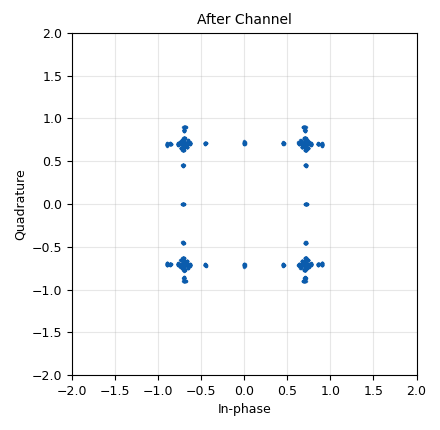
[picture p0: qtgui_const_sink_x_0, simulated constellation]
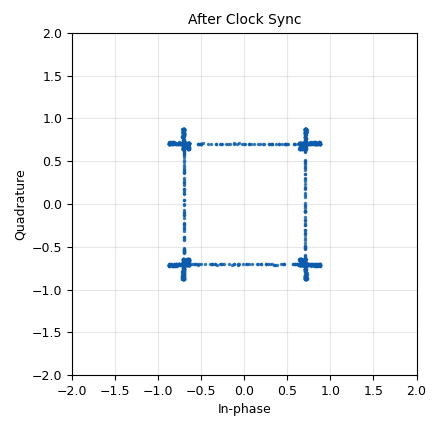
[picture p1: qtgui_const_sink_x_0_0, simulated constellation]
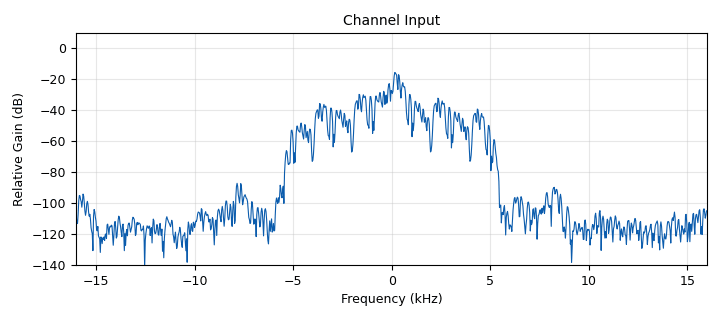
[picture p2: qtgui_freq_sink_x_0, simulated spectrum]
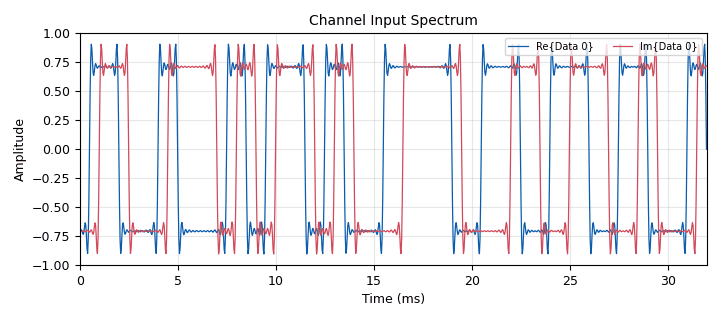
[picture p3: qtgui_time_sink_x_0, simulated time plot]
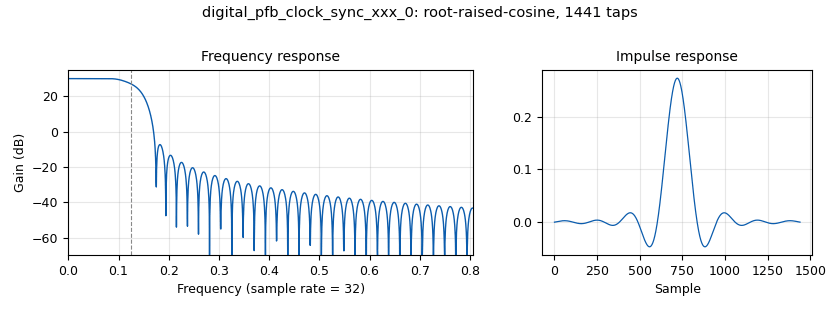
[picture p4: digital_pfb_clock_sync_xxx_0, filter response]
options:
  parameters:
    generate_options: qt_gui
    id: qpks
    output_language: python
    realtime_scheduling: '1'
    title: QPSK
  states: {}

blocks:
- name: excess_bw
  id: variable
  parameters:
    value: '350e-3'
  states: {}
- name: freq_offset
  id: variable_qtgui_range
  parameters:
    gui_hint: 1,0,1,1
    label: Frequency Offset
    orient: Qt.Horizontal
    start: '-100e-3'
    step: '1e-3'
    stop: '100e-3'
    value: '0'
  states: {}
- name: nfilts
  id: variable
  parameters:
    value: '32'
  states: {}
- name: noise_volt
  id: variable_qtgui_range
  parameters:
    gui_hint: 0,0,1,1
    label: Noise Voltage
    orient: Qt.Horizontal
    start: '0'
    step: '0.01'
    stop: '1'
    value: '0.0001'
  states: {}
- name: qpsk_const
  id: variable_constellation_rect
  parameters:
    const_points: '[0.707+0.707j, -0.707+0.707j, -0.707-0.707j, 0.707-0.707j]'
    imag_sect: '2'
    real_sect: '2'
    rot_sym: '4'
    sym_map: '[0, 1, 3, 2]'
    w_imag_sect: '1'
    w_real_sect: '1'
  states: {}
- name: rrc_taps
  id: variable
  parameters:
    value: firdes.root_raised_cosine(nfilts, nfilts, 1.0/float(sps), 0.35, 45*nfilts)
  states: {}
- name: samp_rate
  id: variable
  parameters:
    value: '32000'
  states: {}
- name: sps
  id: variable
  parameters:
    value: '4'
  states: {}
- name: taps
  id: variable
  parameters:
    value: '[1.0 + 0.0j, ]'
  states: {}
- name: time_offset
  id: variable_qtgui_range
  parameters:
    gui_hint: 0,1,1,1
    label: Timing Offset
    orient: Qt.Horizontal
    start: '0.999'
    step: '0.0001'
    stop: '1.001'
    value: '1.0'
  states: {}
- name: timing_loop_bw
  id: variable_qtgui_range
  parameters:
    gui_hint: 1,1,1,1
    label: 'Time: BW'
    orient: Qt.Horizontal
    start: '0'
    step: '10e-3'
    stop: '200e-3'
    value: 2 * 3.141592653589793 / 100
  states: {}
- name: analog_random_source_x_0
  id: analog_random_source_x
  parameters:
    max: '2'
    min: '0'
    num_samps: '1000'
    repeat: 'True'
    type: byte
  states: {}
- name: blocks_throttle_0
  id: blocks_throttle
  parameters:
    samples_per_second: samp_rate
    type: complex
  states: {}
- name: channels_channel_model_0
  id: channels_channel_model
  parameters:
    epsilon: time_offset
    freq_offset: freq_offset
    noise_voltage: noise_volt
    seed: '0'
    taps: taps
  states: {}
- name: digital_constellation_modulator_0
  id: digital_constellation_modulator
  parameters:
    constellation: qpsk_const
    differential: 'True'
    excess_bw: excess_bw
    samples_per_symbol: sps
  states: {}
- name: digital_pfb_clock_sync_xxx_0
  id: digital_pfb_clock_sync_xxx
  parameters:
    filter_size: nfilts
    init_phase: nfilts/2
    loop_bw: timing_loop_bw
    max_dev: '1.5'
    osps: '1'
    sps: sps * 1.001
    taps: rrc_taps
    type: ccf
  states: {}
- name: qtgui_const_sink_x_0
  id: qtgui_const_sink_x
  parameters:
    gui_hint: 2,1,1,1
    name: '"After Channel"'
    size: '2048'
    type: complex
  states: {}
- name: qtgui_const_sink_x_0_0
  id: qtgui_const_sink_x
  parameters:
    gui_hint: 3,1,1,1
    name: '"After Clock Sync"'
    size: '2048'
    type: complex
  states: {}
- name: qtgui_freq_sink_x_0
  id: qtgui_freq_sink_x
  parameters:
    bw: samp_rate
    fc: '0'
    fftsize: '1024'
    gui_hint: 3,0,1,1
    name: '"Channel Input"'
    type: complex
    wintype: firdes.WIN_BLACKMAN_hARRIS
  states: {}
- name: qtgui_time_sink_x_0
  id: qtgui_time_sink_x
  parameters:
    gui_hint: 2,0,1,1
    name: '"Channel Input Spectrum"'
    size: '1024'
    srate: samp_rate
    type: complex
  states: {}

connections:
- [analog_random_source_x_0, '0', digital_constellation_modulator_0, '0']
- [blocks_throttle_0, '0', channels_channel_model_0, '0']
- [channels_channel_model_0, '0', digital_pfb_clock_sync_xxx_0, '0']
- [channels_channel_model_0, '0', qtgui_const_sink_x_0, '0']
- [channels_channel_model_0, '0', qtgui_freq_sink_x_0, '0']
- [channels_channel_model_0, '0', qtgui_time_sink_x_0, '0']
- [digital_constellation_modulator_0, '0', blocks_throttle_0, '0']
- [digital_pfb_clock_sync_xxx_0, '0', qtgui_const_sink_x_0_0, '0']

metadata:
  file_format: 1
